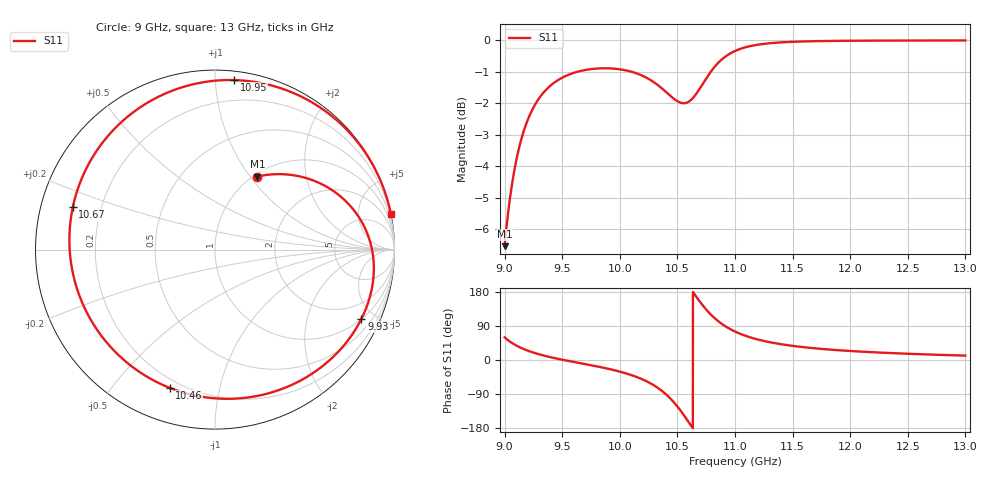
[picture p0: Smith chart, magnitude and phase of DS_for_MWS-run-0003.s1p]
! TOUCHSTONE file generated by CST DESIGN STUDIO
! Date and time: Tue Feb  4 14:40:37 2025
! Project name: C:\Work\MatlabApps\UnitCellOptimizationMatlab\CST\unitcell.cst
! Tree item: Tasks\Sweep1\SPara1\S-Parameters
! Header version: 2024
! Port assignment regex: !\s*Touchstone port\s*([0-9]+)\s*=\s*(CST MWS port|CST DES external port|CST DES block port)\s*(.+)\s* \(\"(.*)\"\)(\s*mode\s*([0-9]+))?.*
! Touchstone port assignment:
! Touchstone port 1 = CST DES external port 1 ("")
# GHz S MA R 50
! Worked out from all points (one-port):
!   4001 points, 9 GHz to 13 GHz, reference 50 ohm
!   lowest |S11| = -6.5 dB at 9 GHz (marker M1), VSWR 2.78, Z = 52 + j54.4 ohm
!   |S11| at or under -10 dB: nowhere
!   S11 on the Smith chart (normalised r, x): 9 GHz: 1.04, +1.09; 9.93 GHz: 1.02, -4.22; 10.46 GHz: 0.16, -0.71; 10.67 GHz: 0.10, +0.14; 10.95 GHz: 0.06, +1.12; 13 GHz: 0.01, +9.85
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9  0.4708 59.9
9.113  0.6598 36.4
9.215  0.7584 23.1
9.342  0.8278 11.5
9.5  0.8725 0.8
9.721  0.8987 -12.0
9.93  0.9024 -25.3
10  0.8997 -30.6
10.14  0.8872 -44.1
10.256  0.8674 -59.9
10.374  0.8363 -83.6
10.459  0.8105 -108.1
10.5  0.8004 -122.7
10.545  0.7948 -140.8
10.594  0.7983 -162.1
10.633  0.8093 -179.5
10.672  0.8267 163.5
10.738  0.8632 137.4
10.799  0.8963 117.3
10.866  0.9257 99.7
10.946  0.9505 83.6
11  0.9621 75.1
11.097  0.9759 63.2
11.208  0.9851 53.3
11.5  0.995 37.3
12  0.9988 23.8
12.5  0.9996 16.5
13  0.9999 11.6
